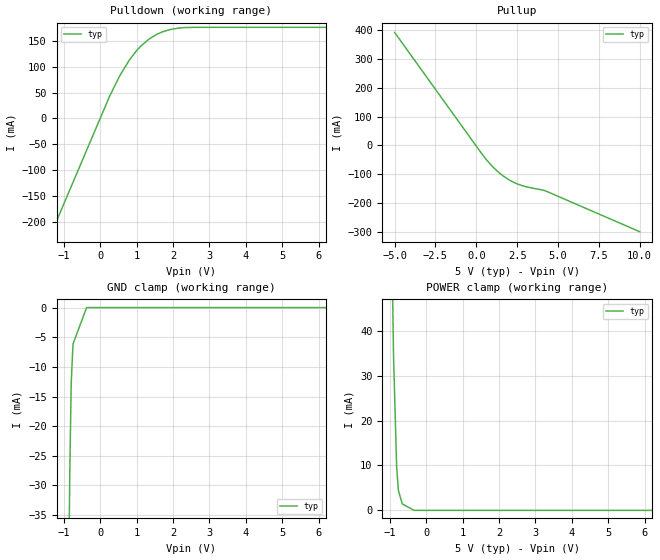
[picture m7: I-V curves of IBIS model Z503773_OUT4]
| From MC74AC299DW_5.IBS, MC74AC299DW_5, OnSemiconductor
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| (C) COPYRIGHT 1993-2000
| MENTOR GRAPHICS CORPORATION
| ICX STANDARD LIBRARY, ICX PROJECT MODELING,
| ICX CUSTOM MODELING, ICX VENDOR MODEL
| ALL RIGHTS RESERVED.
| THE FOLLOWING ARE TRADEMARKS OR SERVICE MARKS OF
| MENTOR GRAPHICS CORPORATION:ICX (R), ICX STANDARD
| LIBRARY(R), ICX PROJECT MODELING(R), ICX CUSTOM
| MODELING(R), qualityIBIS(TM), MODELVIEWER(TM),
| AND MODELEDITOR(TM)
| ALL COPIES OF SOFTWARE, INCLUDING BUT NOT LIMITED TO
| ANY MODIFICATIONS, ENHANCEMENTS OR DERIVATIVE WORKS,
| MUST CONTAIN ALL MENTOR GRAPHICS CORPORATION'S
| NOTICES AND LEGENDS, INCLUDING THOSE EMBEDDED IN
| SOFTWARE AND THOSE AFFIXED TO SOFTWARE MEDIUM
| AND CONTAINER, AS RECEIVED FROM MENTOR GRAPHICS
| CORPORATION.
| Model Application Version 1.89 2/18/99.
[Model] Z503773_OUT4
Model_type Output
Vref=0.000V
Rref=500.0ohms
Cref=50.00pF
Vmeas=2.500V
C_comp 8.000pF NA NA
| variable typ   min   max
[Voltage Range] 5.000V NA NA
[POWER Clamp Reference] 5.000V NA NA
[Pullup Reference] 5.000V NA NA
[Pulldown Reference] 0.000V NA NA
[GND Clamp Reference] 0.000V NA NA
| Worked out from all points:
|   slope of the pulldown table from 0 to 0.75 V, typ, clamps not added: 7.01 ohm
|   slope of the pullup table from 0 to 0.75 V, typ, clamps not added: 13.5 ohm
[GND Clamp]
-5V       -1.891A    NA         NA
-1.021V   -132.3mA   NA         NA
-832.6mV  -26.31mA   NA         NA
-795.7mV  -12.62mA   NA         NA
-747.3mV  -6.133mA   NA         NA
-373.7mV  0A         NA         NA
10V       0A         NA         NA
[Pulldown]
-5V       -827.6mA   NA         NA
259.3mV   43.08mA    NA         NA
537.3mV   82.51mA    NA         NA
801.2mV   113mA      NA         NA
1.002V    131.4mA    NA         NA
1.32V     152.2mA    NA         NA
1.704V    167.3mA    NA         NA
2.076V    173.9mA    NA         NA
2.571V    176.2mA    NA         NA
10V       176.2mA    NA         NA
[Pullup]
-5V       392.9mA    NA         NA
314mV     -27.45mA   NA         NA
889mV     -67.19mA   NA         NA
1.416V    -96.09mA   NA         NA
1.876V    -115.3mA   NA         NA
2.378V    -130.8mA   NA         NA
3.043V    -143.7mA   NA         NA
4.209V    -157.5mA   NA         NA
10V       -300.1mA   NA         NA
[POWER Clamp]
-5V       3.132A     NA         NA
-1.015V   100.3mA    NA         NA
-896mV    34.76mA    NA         NA
-810mV    9.793mA    NA         NA
-762mV    4.443mA    NA         NA
-654mV    1.418mA    NA         NA
-327mV    0A         NA         NA
10V       0A         NA         NA
[Ramp]
| variable typ min max
dV/dt_r 2.946/521.5p NA NA
dV/dt_f 2.946/399.4p NA NA
R_load = 500.0Ohms
